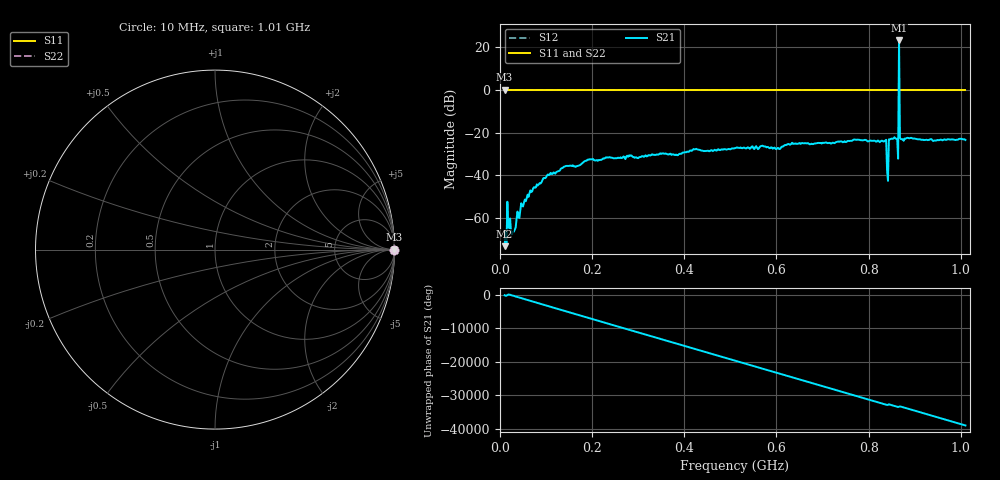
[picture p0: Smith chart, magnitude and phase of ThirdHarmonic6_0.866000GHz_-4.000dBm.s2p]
! 8/16/2025 4:36:04 AM
! C:\ANRITSUVNA\TEMP\TEMP.S2P
! CHANNEL.1
! TR.MEASUREMENT
! RAW.DATA
! RF.CORRECTION.OFF
! AVERAGING.OFF
! IF.BANDWIDTH: 5KHZ
! SWEEPTYPE:  FREQ.SWEEP(Linear)
! Reference Plane Port Info
! PORT:  PORT1  PORT2
! DISTANCE:  0  m  0  m
! TIME:  0  s  0  s
! PHASE.OFFSET:  0  deg.  0  deg.
! LOSS:  0  dB  0  dB
! REF.LOSS:  0  dB  0  dB
! REF.FREQ:  0  Hz  0  Hz
! Power Info
! POWER:  -20  dBm  -20  dBm
! EFF.POWER:  -20  dBm  -20  dBm
! SOURCE.ATTEN:  0  dB  0  dB
! TEST.ATTEN:  0  dB  0  dB
# GHZ S RI R 50.0
! FREQ.GHZ  S11RE  S11IM  S21RE  S21IM  S12RE  S12IM  S22RE  S22IM
!; PortSelection: Port_12
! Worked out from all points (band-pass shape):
!   501 points, 10 MHz to 1.01 GHz, reference 50 ohm
!   highest |S21| = 23.04 dB at 866 MHz (marker M1); lowest = -73.0 dB at 10 MHz (marker M2)
!   |S21| within 3 dB of the highest: 865.8913 MHz to 866.1322 MHz (240.9 kHz wide, 0.0278 % of centre)
!   lowest |S11| = 0.0 dB at 10 MHz (marker M3)
!   |S11| at or under -10 dB: nowhere
!   |S22| runs from 0.0 to 0.0 dB; largest |S21 - S12| = 14
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0.01  1 0  7.87e-05 -0.000209  1 0  1 0
0.012  1 0  -0.000331 0.00038  1 0  1 0
0.02  1 0  -0.000407 0.00043  1 0  1 0
0.022  1 0  0.000219 0.000967  1 0  1 0
0.03  1 0  -0.00031 0.000376  1 0  1 0
0.05  1 0  0.00189 -8.56e-05  1 0  1 0
0.07  1 0  -0.00124 -0.00414  1 0  1 0
0.106  1 0  -0.00707 -0.00727  1 0  1 0
0.178  1 0  -0.0185 -0.00476  1 0  1 0
0.344  1 0  0.0304 -0.00474  1 0  1 0
0.51  1 0  -0.0421 0.0105  1 0  1 0
0.678  1 0  -0.0161 -0.0517  1 0  1 0
0.834  1 0  -0.00769 0.0622  1 0  1 0
0.838  1 0  0.0323 -0.0601  1 0  1 0
0.844  1 0  0.0444 0.0541  1 0  1 0
0.848  1 0  -0.0205 -0.0681  1 0  1 0
0.86  1 0  -0.0431 0.0567  1 0  1 0
0.862  1 0  0.0495 0.0524  1 0  1 0
0.866  1 0  3.463 13.76  1 0  1 0
0.87  1 0  0.00816 0.0703  1 0  1 0
0.872  1 0  0.0697 0.00499  1 0  1 0
1.01  1 0  -0.0604 -0.0301  1 0  1 0
